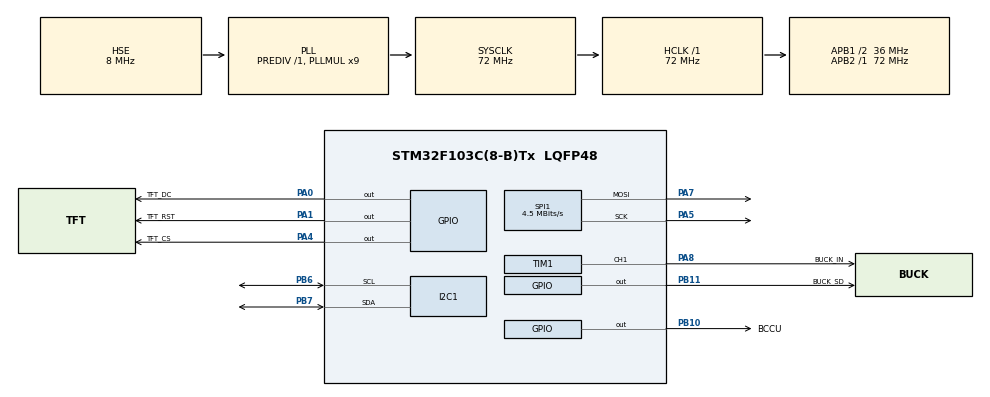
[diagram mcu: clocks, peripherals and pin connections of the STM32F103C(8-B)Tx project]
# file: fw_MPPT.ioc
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Mcu.Family=STM32F1
Mcu.Name=STM32F103C(8-B)Tx
Mcu.Package=LQFP48
NVIC.PriorityGroup=NVIC_PRIORITYGROUP_4
PA0-WKUP.GPIO_Label=TFT_DC
PA0-WKUP.Signal=GPIO_Output
PA1.GPIO_Label=TFT_RST
PA1.Signal=GPIO_Output
PA13.Mode=Serial_Wire
PA13.Signal=SYS_JTMS-SWDIO
PA14.Mode=Serial_Wire
PA14.Signal=SYS_JTCK-SWCLK
PA4.GPIO_Label=TFT_CS
PA4.Signal=GPIO_Output
PA5.Mode=TX_Only_Simplex_Unidirect_Master
PA5.Signal=SPI1_SCK
PA7.Mode=TX_Only_Simplex_Unidirect_Master
PA7.Signal=SPI1_MOSI
PA8.GPIO_Label=BUCK_IN
PA8.Signal=S_TIM1_CH1
PB10.GPIO_Label=BCCU
PB10.Signal=GPIO_Output
PB11.GPIO_Label=BUCK_SD
PB11.Signal=GPIO_Output
PB6.Mode=I2C
PB6.Signal=I2C1_SCL
PB7.Mode=I2C
PB7.Signal=I2C1_SDA
PD0-OSC_IN.Mode=HSE-External-Oscillator
PD0-OSC_IN.Signal=RCC_OSC_IN
PD1-OSC_OUT.Mode=HSE-External-Oscillator
PD1-OSC_OUT.Signal=RCC_OSC_OUT
ProjectManager.HeapSize=0x200
ProjectManager.StackSize=0x400
ProjectManager.TargetToolchain=MDK-ARM V5.32
RCC.AHBFreq_Value=72000000
RCC.APB1CLKDivider=RCC_HCLK_DIV2
RCC.APB1Freq_Value=36000000
RCC.APB1TimFreq_Value=72000000
RCC.APB2Freq_Value=72000000
RCC.APB2TimFreq_Value=72000000
RCC.HCLKFreq_Value=72000000
RCC.PLLMUL=RCC_PLL_MUL9
RCC.PLLSourceVirtual=RCC_PLLSOURCE_HSE
RCC.SYSCLKFreq_VALUE=72000000
RCC.SYSCLKSource=RCC_SYSCLKSOURCE_PLLCLK
RCC.USBFreq_Value=72000000
SH.S_TIM1_CH1.0=TIM1_CH1,PWM Generation1 CH1
SPI1.BaudRatePrescaler=SPI_BAUDRATEPRESCALER_16
SPI1.CalculateBaudRate=4.5 MBits/s
SPI1.Direction=SPI_DIRECTION_2LINES
SPI1.Mode=SPI_MODE_MASTER
SPI1.VirtualType=VM_MASTER
TIM1.Channel-PWM\ Generation1\ CH1=TIM_CHANNEL_1
TIM1.Period=1439
VP_TIM1_VS_ClockSourceINT.Mode=Internal
board=custom

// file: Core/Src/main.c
/* USER CODE BEGIN Header */
/**
  ******************************************************************************
  * @file           : main.c
  * @brief          : Main program body
  ******************************************************************************
  * @attention
  *
  * Copyright (c) 2026 STMicroelectronics.
  * All rights reserved.
  *
  * This software is licensed under terms that can be found in the LICENSE file
  * in the root directory of this software component.
  * If no LICENSE file comes with this software, it is provided AS-IS.
  *
  ******************************************************************************
  */
/* USER CODE END Header */
#include "main.h"

/* USER CODE BEGIN Includes */
#include "st7789.h"
#include "mppt_ui.h"
#include "mppt_measure.h"
#include <stdio.h>
/* USER CODE END Includes */

/* USER CODE BEGIN PD */
/* BENCH ONLY: 12 V input, NO battery or other source at Vout.
 * VCC driver is NOT measured; ADS checks are NOT short-circuit protection.
 * Keep the user's calibrated mppt_measure files unchanged.
 */
#define BUCK_POWER_WAIT_MS       2000U
#define BUCK_VIN_STABLE_MS        500U
#define BUCK_RELAY_WAIT_MS        200U
#define BUCK_RELAY_STABLE_MS      500U
#define BUCK_RELAY_TIMEOUT_MS    2000U
#define BUCK_ADS_TIMEOUT_MS      5000U
#define BUCK_DATA_MAX_AGE_MS      150U
#define BUCK_RAMP_STEP_MS          20U
#define BUCK_VIN_START_MIN_V     11.5f
#define BUCK_VIN_START_MAX_V     12.5f
#define BUCK_VIN_RUN_MIN_V       11.0f
#define BUCK_VIN_RUN_MAX_V       13.0f
#define BUCK_VIN_DRIFT_MAX_V      0.3f
#define BUCK_VOUT_BEFORE_ON_V     0.2f
#define BUCK_VOUT_MAX_V           2.0f
#define BUCK_CURRENT_LIMIT_A     0.3f
/* Fixed zero offsets measured with NO fan/load, SD LOW, on this board at 12 V.
 * Do not learn/adapt these values while the charger is operating.
 * mppt_measure.c still reports current relative to MPPT_CURRENT_ZERO_V;
 * this main applies the matching correction to control AND display.
 */
#define BUCK_ACS_ZERO_OFF_V       2.499f
#define BUCK_ACS_ZERO_ON_V        2.419f
#define BUCK_PWM_HZ             50000U
#define BUCK_INITIAL_CCR           72U /* 5% of 1440 */
#define BUCK_TARGET_CCR           144U /* 10%, NOT MPPT */
#define BUCK_CCR_STEP              14U
#if MPPT_ADS_CURRENT_CH != 2U || MPPT_ADS_VIN_CH != 1U || MPPT_ADS_VOUT_CH != 0U
#error "Check mppt_measure.h: A0=Vout, A1=Vin, A2=ACS712 required."
#endif
/* USER CODE END PD */

I2C_HandleTypeDef hi2c1;

SPI_HandleTypeDef hspi1;

TIM_HandleTypeDef htim1;

/* USER CODE BEGIN PV */
typedef enum {
    BUCK_WAIT_POWER = 0, BUCK_RELAY_SETTLE,
    BUCK_RAMP, BUCK_RUNNING, BUCK_FAULT
} BuckState;
static BuckState buck_state = BUCK_WAIT_POWER;
static const char *buck_message = "WAIT POWER | OFF";
static uint32_t boot_ms, state_ms, stable_ms, ramp_ms, last_ads_errors;
static uint16_t buck_ccr;
static uint8_t vin_stable, ads_seen;
static float vin_reference;
static uint32_t relay_sample_ms, relay_good_ms;
static uint8_t relay_good;
static float relay_vin_reference;
static uint8_t relay_commanded_on;
/* Fault evidence is captured before measurements recover after shutdown. */
static MPPT_Measurement fault_measure;
static uint8_t fault_measure_valid;
static BuckState fault_stage;
static uint16_t fault_ccr;
static uint32_t fault_ms;
static char fault_message[40];
static MPPT_UI_Data screen;
static uint32_t last_screen_ms;
/* Debugger Watch: measure->adc_V[], vin_V, vout_V, ipv_A, error_count. */
const MPPT_Measurement *measure;
/* USER CODE END PV */

void SystemClock_Config(void);
static void MX_GPIO_Init(void);
static void MX_I2C1_Init(void);
static void MX_SPI1_Init(void);
static void MX_TIM1_Init(void);

/* USER CODE BEGIN 0 */
static float Buck_CurrentForRelay(float library_current, uint8_t relay_on)
{
    float zero = relay_on ? BUCK_ACS_ZERO_ON_V : BUCK_ACS_ZERO_OFF_V;
    /* Preserve measured load current; shift the fixed calibration origin only.
     * No clamp of negative values and no automatic zero-current assumption.
     */
    return library_current + MPPT_CURRENT_SIGN *
        (MPPT_CURRENT_ZERO_V - zero) / MPPT_CURRENT_V_PER_A;
}
static float Buck_CurrentA(void)
{
    return Buck_CurrentForRelay(measure->ipv_A, relay_commanded_on);
}
/* SD first, then timer OFF / PA8 GPIO LOW, then relay OFF.
 * Also usable before TIM1 initialization, from Error_Handler.
 */
static void Power_Off(void)
{
    GPIO_InitTypeDef gpio = {0};
    __HAL_RCC_GPIOA_CLK_ENABLE();
    __HAL_RCC_GPIOB_CLK_ENABLE();
    HAL_GPIO_WritePin(BUCK_SD_GPIO_Port,
                     BUCK_SD_Pin, GPIO_PIN_RESET);
    if ((RCC->APB2ENR & RCC_APB2ENR_TIM1EN) != 0U) {
        TIM1->BDTR &= ~TIM_BDTR_MOE;
        TIM1->CCER &= ~TIM_CCER_CC1E;
        TIM1->CR1 &= ~TIM_CR1_CEN;
        TIM1->CCR1 = 0U;
    }
    HAL_GPIO_WritePin(BUCK_IN_GPIO_Port,
                     BUCK_IN_Pin, GPIO_PIN_RESET);
    gpio.Pin = BUCK_IN_Pin;
    gpio.Mode = GPIO_MODE_OUTPUT_PP;
    gpio.Pull = GPIO_NOPULL;
    gpio.Speed = GPIO_SPEED_FREQ_LOW;
    HAL_GPIO_Init(BUCK_IN_GPIO_Port, &gpio);
    HAL_GPIO_WritePin(BCCU_GPIO_Port,
                     BCCU_Pin, GPIO_PIN_RESET);
    relay_commanded_on = 0U;
}
static uint8_t Buck_DataFresh(uint32_t now);
static void Buck_Fault(const char *reason)
{
    uint8_t relay_at_fault = relay_commanded_on;
    /* Shutdown has priority over diagnostic formatting/copies. */
    Power_Off();
    fault_stage = buck_state;
    fault_ccr = buck_ccr;
    fault_ms = HAL_GetTick();
    fault_measure_valid = Buck_DataFresh(fault_ms);
    if (measure != 0) {
        fault_measure = *measure;
        fault_measure.ipv_A = Buck_CurrentForRelay(measure->ipv_A, relay_at_fault);
        fault_measure.ppv_W = fault_measure.vin_V * fault_measure.ipv_A;
    }
    buck_ccr = 0U;
    buck_message = reason;
    buck_state = BUCK_FAULT; /* Latched until MCU reset/power cycle. */
}
static uint8_t Buck_DataFresh(uint32_t now)
{
    return (uint8_t)(measure != 0 && measure->valid &&
        (uint32_t)(now - measure->updated_ms) <= BUCK_DATA_MAX_AGE_MS);
}
static float Buck_RawVin(void)
{
    return measure->adc_V[MPPT_ADS_VIN_CH] * MPPT_VIN_RATIO;
}
static float Buck_RawVout(void)
{
    return measure->adc_V[MPPT_ADS_VOUT_CH] * MPPT_VOUT_RATIO;
}
static uint8_t Buck_CurrentReady(void)
{
    float zero = relay_commanded_on ? BUCK_ACS_ZERO_ON_V : BUCK_ACS_ZERO_OFF_V;
    float raw_current = MPPT_CURRENT_SIGN *
        (measure->adc_V[MPPT_ADS_CURRENT_CH] - zero) /
        MPPT_CURRENT_V_PER_A;
    float current = Buck_CurrentA();
    /* No auto-zero and no larger current limit. Both raw and filtered
     * measurements must qualify before allowing any PWM.
     */
    return (uint8_t)(raw_current >= -BUCK_CURRENT_LIMIT_A &&
        raw_current <= BUCK_CURRENT_LIMIT_A &&
        current >= -BUCK_CURRENT_LIMIT_A &&
        current <= BUCK_CURRENT_LIMIT_A);
}
static uint8_t Buck_VinStartOK(void)
{
    float v = Buck_RawVin();
    return (uint8_t)(v >= BUCK_VIN_START_MIN_V && v <= BUCK_VIN_START_MAX_V &&
        measure->vin_V >= BUCK_VIN_START_MIN_V && measure->vin_V <= BUCK_VIN_START_MAX_V);
}
static uint8_t Buck_CheckLimits(void)
{
    float vin = Buck_RawVin(), vout = Buck_RawVout(), current = Buck_CurrentA();
    /* Positive range checks reject NaN too; V channels are unfiltered. */
    if (!(vin >= BUCK_VIN_RUN_MIN_V && vin <= BUCK_VIN_RUN_MAX_V)) {
        Buck_Fault("FAULT VIN | OFF"); return 0U;
    }
    if (!(vout >= -0.1f && vout <= BUCK_VOUT_MAX_V)) {
        Buck_Fault("FAULT VOUT | OFF"); return 0U;
    }
    /* Filtered PV current: slow supervisory check, NOT a fast current trip. */
    if (!(current >= -BUCK_CURRENT_LIMIT_A && current <= BUCK_CURRENT_LIMIT_A)) {
        Buck_Fault(buck_state == BUCK_RELAY_SETTLE ? "IPV RELAY | OFF" :
                   buck_state == BUCK_RAMP ? "IPV RAMP | OFF" :
                   "IPV RUN | OFF");
        return 0U;
    }
    return 1U;
}
static void Buck_StartPWM(void)
{
    GPIO_InitTypeDef gpio = {0};
    /* Relay settled; SD stays LOW while timer is prepared at zero compare. */
    HAL_GPIO_WritePin(BUCK_SD_GPIO_Port, BUCK_SD_Pin, GPIO_PIN_RESET);
    __HAL_TIM_DISABLE(&htim1);
    __HAL_TIM_MOE_DISABLE(&htim1);
    __HAL_TIM_SET_COMPARE(&htim1, TIM_CHANNEL_1, 0U);
    __HAL_TIM_SET_COUNTER(&htim1, 0U);
    htim1.Instance->EGR = TIM_EGR_UG;
    __HAL_TIM_CLEAR_FLAG(&htim1, TIM_FLAG_UPDATE);
    gpio.Pin = BUCK_IN_Pin;
    gpio.Mode = GPIO_MODE_AF_PP;
    gpio.Pull = GPIO_NOPULL;
    gpio.Speed = GPIO_SPEED_FREQ_HIGH;
    HAL_GPIO_Init(BUCK_IN_GPIO_Port, &gpio);
    if (HAL_TIM_PWM_Start(&htim1, TIM_CHANNEL_1) != HAL_OK) {
        Buck_Fault("FAULT TIMER | OFF"); return;
    }
    /* CCR=0: IN LOW. Enabling SD turns Q3 ON to charge bootstrap.
     * Only for a discharged output with NO battery/external source.
     * No TFT/ADS calls during this bounded 2 ms interval.
     */
    HAL_GPIO_WritePin(BUCK_SD_GPIO_Port, BUCK_SD_Pin, GPIO_PIN_SET);
    HAL_Delay(2U);
    buck_ccr = BUCK_INITIAL_CCR;
    __HAL_TIM_SET_COMPARE(&htim1, TIM_CHANNEL_1, buck_ccr);
    ramp_ms = HAL_GetTick();
    buck_state = BUCK_RAMP;
    buck_message = "RAMP | BUCK ON";
}
static void Buck_Task(void)
{
    uint32_t now = HAL_GetTick();
    float vin, delta;
    uint8_t fresh;
    if (buck_state == BUCK_FAULT) return;
    fresh = Buck_DataFresh(now);
    if (buck_state != BUCK_WAIT_POWER) {
        if (!fresh || measure->error_count != last_ads_errors) {
            Buck_Fault("FAULT ADS | OFF"); return;
        }
        /* Relay settling has its own bounded qualification below.
         * Never enable SD/PWM while waiting for its current reading.
         * Run-time current protection is unchanged.
         */
        if ((buck_state == BUCK_RAMP || buck_state == BUCK_RUNNING) &&
            !Buck_CheckLimits()) return;
    }
    switch (buck_state) {
    case BUCK_WAIT_POWER:
        if (fresh) ads_seen = 1U;
        if (!ads_seen && (uint32_t)(now - boot_ms) >= BUCK_ADS_TIMEOUT_MS) {
            Buck_Fault("FAULT ADS | OFF"); return;
        }
        if (ads_seen && !fresh) { Buck_Fault("FAULT ADS | OFF"); return; }
        if (!fresh) { vin_stable = 0U; break; }
        if (measure->error_count != last_ads_errors) {
            Buck_Fault("FAULT ADS | OFF"); return;
        }
        /* An unloaded output capacitor can retain or acquire a small voltage
         * during reset.  Keep every power command OFF and wait for it to fall
         * below the pre-start threshold.  A voltage above the 2 V bench limit
         * is treated as an external/live output and latches a fault.
         */
        if (!(Buck_RawVout() >= -0.1f && Buck_RawVout() <= BUCK_VOUT_MAX_V)) {
            Buck_Fault("OUTPUT LIVE | OFF"); return;
        }
        if (Buck_RawVout() > BUCK_VOUT_BEFORE_ON_V) {
            vin_stable = 0U;
            buck_message = "WAIT VOUT | OFF";
            break;
        }
        if (!Buck_CurrentReady()) {
            /* Relay is still OFF, so this can be ACS712 startup settling.
             * Stay safely OFF and restart the qualification interval.
             * Once the relay closes, Buck_CheckLimits() still latches a fault.
             */
            vin_stable = 0U;
            buck_message = "WAIT CURRENT | OFF";
            break;
        }
        if (!Buck_VinStartOK()) {
            vin_stable = 0U;
            buck_message = "WAIT VIN | OFF";
            break;
        }
        vin = Buck_RawVin();
        delta = vin - vin_reference;
        if (!vin_stable || delta > BUCK_VIN_DRIFT_MAX_V || delta < -BUCK_VIN_DRIFT_MAX_V) {
            vin_reference = vin;
            stable_ms = now;
            vin_stable = 1U;
        }
        buck_message = "WAIT STABLE | OFF";
        if ((uint32_t)(now - boot_ms) >= BUCK_POWER_WAIT_MS &&
            (uint32_t)(now - stable_ms) >= BUCK_VIN_STABLE_MS) {
            HAL_GPIO_WritePin(BCCU_GPIO_Port, BCCU_Pin, GPIO_PIN_SET);
            relay_commanded_on = 1U;
            state_ms = HAL_GetTick();
            relay_sample_ms = measure->updated_ms;
            relay_good = 0U;
            buck_state = BUCK_RELAY_SETTLE;
            buck_message = "RELAY WAIT | OFF";
        }
        break;
    case BUCK_RELAY_SETTLE:
        /* PA8 stays GPIO LOW, TIM1 stopped and SD LOW throughout this state.
         * The relay edge can capacitively lift the unloaded output for a short
         * time.  OUTPUT LIVE was already checked before the relay was closed,
         * so use the normal 2 V bench limit here instead of the 0.2 V
         * pre-start limit.
         * Current outside the test window blocks startup and may only wait
         * up to BUCK_RELAY_TIMEOUT_MS, never indefinitely with relay ON.
         */
        if (!Buck_VinStartOK()) { Buck_Fault("FAULT VIN | OFF"); return; }
        if (!(Buck_RawVout() >= -0.1f && Buck_RawVout() <= BUCK_VOUT_MAX_V)) {
            Buck_Fault("FAULT VOUT | OFF"); return;
        }
        if ((uint32_t)(now - state_ms) >= BUCK_RELAY_TIMEOUT_MS) {
            Buck_Fault(Buck_CurrentReady() ? "RELAY UNSTABLE | OFF" :
                                           "IPV RELAY | OFF");
            return;
        }
        if ((uint32_t)(now - state_ms) < BUCK_RELAY_WAIT_MS) break;
        /* Only qualify newly published scans, not repeated reads of one scan. */
        if (measure->updated_ms == relay_sample_ms) break;
        relay_sample_ms = measure->updated_ms;
        if (!Buck_CurrentReady()) {
            relay_good = 0U;
            buck_message = "RELAY I WAIT | OFF";
            break;
        }
        vin = Buck_RawVin();
        delta = vin - relay_vin_reference;
        if (!relay_good || delta > BUCK_VIN_DRIFT_MAX_V ||
                           delta < -BUCK_VIN_DRIFT_MAX_V) {
            relay_vin_reference = vin;
            relay_good_ms = now;
            relay_good = 1U;
        }
        buck_message = "RELAY QUALIFY | OFF";
        if ((uint32_t)(now - relay_good_ms) >= BUCK_RELAY_STABLE_MS) {
            Buck_StartPWM();
        }
        break;
    case BUCK_RAMP:
        if ((uint32_t)(now - ramp_ms) >= BUCK_RAMP_STEP_MS) {
            ramp_ms = now;
            buck_ccr = (uint16_t)(buck_ccr + BUCK_CCR_STEP);
            if (buck_ccr >= BUCK_TARGET_CCR) {
                buck_ccr = BUCK_TARGET_CCR;
                buck_state = BUCK_RUNNING;
                buck_message = "TEST 10% | BUCK ON";
            }
            __HAL_TIM_SET_COMPARE(&htim1, TIM_CHANNEL_1, buck_ccr);
        }
        break;
    case BUCK_RUNNING: break;
    default: Buck_Fault("FAULT STATE | OFF"); break;
    }
}
static int32_t milli(float v)
{
    return (int32_t)(v * 1000.0f + (v >= 0.0f ? 0.5f : -0.5f));
}
static void UpdateScreen(void)
{
    const MPPT_Measurement *display_measure = measure;
    uint8_t display_valid = Buck_DataFresh(HAL_GetTick());
    if (buck_state == BUCK_FAULT && fault_measure_valid) {
        display_measure = &fault_measure;
        display_valid = 1U;
    }
    screen.total_energy_Wh = MPPT_UI_U32_NA;
    screen.switching_frequency_Hz =
        (buck_state == BUCK_RAMP || buck_state == BUCK_RUNNING) ? BUCK_PWM_HZ : MPPT_UI_U32_NA;
    screen.battery_current_mA = MPPT_UI_I32_NA;
    screen.battery_power_mW = MPPT_UI_I32_NA;
    screen.ip_address = "--";
    screen.wifi_connected = screen.demo = 0;
    screen.load_on = (uint8_t)(buck_state == BUCK_RAMP || buck_state == BUCK_RUNNING);
    if (display_valid) {
        screen.pv_voltage_mV = (uint32_t)milli(display_measure->vin_V);
        screen.battery_voltage_mV = (uint32_t)milli(display_measure->vout_V);
        screen.pv_current_mA = milli(display_measure == &fault_measure ?
            fault_measure.ipv_A : Buck_CurrentA());

				if ((screen.pv_current_mA > -30) &&
						(screen.pv_current_mA < 30))
				{
						screen.pv_current_mA = 0;
				}

				screen.pv_power_mW =
						(int32_t)(((int64_t)screen.pv_voltage_mV * screen.pv_current_mA) / 1000);
    } else {
        screen.pv_voltage_mV = screen.battery_voltage_mV = MPPT_UI_U32_NA;
        screen.pv_current_mA = screen.pv_power_mW = MPPT_UI_I32_NA;
    }
    screen.date_time = buck_message;
    if (buck_state == BUCK_FAULT && fault_measure_valid) {
        /* Alternate stage label and actual current sample used by the trip.
         * No float printf support needed on Keil. Frozen panels are TRIP data.
         */
        if (((HAL_GetTick() / 2000U) % 3U) == 1U) {
            (void)snprintf(fault_message, sizeof(fault_message),
                "TRIP I:%ldmA | OFF", (long)milli(fault_measure.ipv_A));
            screen.date_time = fault_message;
        } else if (((HAL_GetTick() / 2000U) % 3U) == 2U) {
            (void)snprintf(fault_message, sizeof(fault_message),
                "TRIP A2:%ldmV", (long)milli(fault_measure.adc_V[MPPT_ADS_CURRENT_CH]));
            screen.date_time = fault_message;
        }
    }
    MPPT_UI_SetWarning((uint8_t)(buck_state == BUCK_FAULT));
    MPPT_UI_Draw(&screen);
}

/* Step 1: initialize only the shutdown controls, never enable PWM.
 * Called before HSE startup; repeated writes do not change the pin mode.
 * Kept in USER CODE so CubeMX regeneration preserves this setup. */
static void Power_SafeInit(void)
{
    GPIO_InitTypeDef gpio = {0};
    __HAL_RCC_GPIOA_CLK_ENABLE();
    __HAL_RCC_GPIOB_CLK_ENABLE();
    Power_Off();
    gpio.Mode = GPIO_MODE_OUTPUT_PP;
    gpio.Pull = GPIO_NOPULL;
    gpio.Speed = GPIO_SPEED_FREQ_LOW;
    gpio.Pin = GPIO_PIN_11 | GPIO_PIN_10;
    HAL_GPIO_Init(GPIOB, &gpio);
    gpio.Pin = GPIO_PIN_8;
    HAL_GPIO_Init(GPIOA, &gpio);
}
/* USER CODE END 0 */

int main(void)
{

  /* MCU Configuration--------------------------------------------------------*/

  /* Reset of all peripherals, Initializes the Flash interface and the Systick. */
  HAL_Init();

  /* USER CODE BEGIN Init */
Power_SafeInit();
  /* USER CODE END Init */

  /* Configure the system clock */
  SystemClock_Config();

  /* Initialize all configured peripherals */
  MX_GPIO_Init();
  MX_I2C1_Init();
  MX_SPI1_Init();
  MX_TIM1_Init();
	/* USER CODE BEGIN 2 */
    Power_Off();
    /* Verify the rewired board and timer assumptions before allowing startup. */
    if (BUCK_IN_GPIO_Port != GPIOA || BUCK_IN_Pin != GPIO_PIN_8 ||
        BUCK_SD_GPIO_Port != GPIOB || BUCK_SD_Pin != GPIO_PIN_11 ||
        BCCU_GPIO_Port != GPIOB || BCCU_Pin != GPIO_PIN_10 ||
        HAL_RCC_GetPCLK2Freq() != 72000000U ||
        htim1.Instance->PSC != 0U || htim1.Instance->ARR != 1439U) {
        Error_Handler();
    }
    ST7789_Init();
    MPPT_UI_Init();
    MPPT_Measure_Init(&hi2c1);
    measure = MPPT_Measure_Get();
    last_ads_errors = measure->error_count;
    boot_ms = HAL_GetTick(); /* Full wait starts AFTER display initialization. */
    buck_state = BUCK_WAIT_POWER;
    buck_message = "WAIT POWER | OFF";
    UpdateScreen();
    last_screen_ms = HAL_GetTick();
	/* USER CODE END 2 */

  /* Infinite loop */
  while (1)
  {

    /* USER CODE BEGIN 3 */
    Buck_Task();
    MPPT_Measure_Task();
    Buck_Task();
    if ((uint32_t)(HAL_GetTick() - last_screen_ms) >= 200U) {
        last_screen_ms = HAL_GetTick();
        /* Do not let screen drawing extend the staged startup/ramp. */
        if (buck_state != BUCK_RELAY_SETTLE && buck_state != BUCK_RAMP) {
            UpdateScreen();
        }
    }
    if (buck_state != BUCK_RELAY_SETTLE && buck_state != BUCK_RAMP) {
        MPPT_UI_Tick();
    }
    Buck_Task(); /* Check freshness again after blocking display work. */
  }
  /* USER CODE END 3 */
}

void SystemClock_Config(void)
{
  RCC_OscInitTypeDef RCC_OscInitStruct = {0};
  RCC_ClkInitTypeDef RCC_ClkInitStruct = {0};

  /** Initializes the RCC Oscillators according to the specified parameters
  * in the RCC_OscInitTypeDef structure.
  */
  RCC_OscInitStruct.OscillatorType = RCC_OSCILLATORTYPE_HSE;
  RCC_OscInitStruct.HSEState = RCC_HSE_ON;
  RCC_OscInitStruct.HSEPredivValue = RCC_HSE_PREDIV_DIV1;
  RCC_OscInitStruct.HSIState = RCC_HSI_ON;
  RCC_OscInitStruct.PLL.PLLState = RCC_PLL_ON;
  RCC_OscInitStruct.PLL.PLLSource = RCC_PLLSOURCE_HSE;
  RCC_OscInitStruct.PLL.PLLMUL = RCC_PLL_MUL9;
  if (HAL_RCC_OscConfig(&RCC_OscInitStruct) != HAL_OK)
  {
    Error_Handler();
  }

  /** Initializes the CPU, AHB and APB buses clocks
  */
  RCC_ClkInitStruct.ClockType = RCC_CLOCKTYPE_HCLK|RCC_CLOCKTYPE_SYSCLK
                              |RCC_CLOCKTYPE_PCLK1|RCC_CLOCKTYPE_PCLK2;
  RCC_ClkInitStruct.SYSCLKSource = RCC_SYSCLKSOURCE_PLLCLK;
  RCC_ClkInitStruct.AHBCLKDivider = RCC_SYSCLK_DIV1;
  RCC_ClkInitStruct.APB1CLKDivider = RCC_HCLK_DIV2;
  RCC_ClkInitStruct.APB2CLKDivider = RCC_HCLK_DIV1;

  if (HAL_RCC_ClockConfig(&RCC_ClkInitStruct, FLASH_LATENCY_2) != HAL_OK)
  {
    Error_Handler();
  }
}

static void MX_I2C1_Init(void)
{

  hi2c1.Instance = I2C1;
  hi2c1.Init.ClockSpeed = 100000;
  hi2c1.Init.DutyCycle = I2C_DUTYCYCLE_2;
  hi2c1.Init.OwnAddress1 = 0;
  hi2c1.Init.AddressingMode = I2C_ADDRESSINGMODE_7BIT;
  hi2c1.Init.DualAddressMode = I2C_DUALADDRESS_DISABLE;
  hi2c1.Init.OwnAddress2 = 0;
  hi2c1.Init.GeneralCallMode = I2C_GENERALCALL_DISABLE;
  hi2c1.Init.NoStretchMode = I2C_NOSTRETCH_DISABLE;
  if (HAL_I2C_Init(&hi2c1) != HAL_OK)
  {
    Error_Handler();
  }

}

static void MX_SPI1_Init(void)
{

  /* SPI1 parameter configuration*/
  hspi1.Instance = SPI1;
  hspi1.Init.Mode = SPI_MODE_MASTER;
  hspi1.Init.Direction = SPI_DIRECTION_2LINES;
  hspi1.Init.DataSize = SPI_DATASIZE_8BIT;
  hspi1.Init.CLKPolarity = SPI_POLARITY_LOW;
  hspi1.Init.CLKPhase = SPI_PHASE_1EDGE;
  hspi1.Init.NSS = SPI_NSS_SOFT;
  hspi1.Init.BaudRatePrescaler = SPI_BAUDRATEPRESCALER_16;
  hspi1.Init.FirstBit = SPI_FIRSTBIT_MSB;
  hspi1.Init.TIMode = SPI_TIMODE_DISABLE;
  hspi1.Init.CRCCalculation = SPI_CRCCALCULATION_DISABLE;
  hspi1.Init.CRCPolynomial = 10;
  if (HAL_SPI_Init(&hspi1) != HAL_OK)
  {
    Error_Handler();
  }

}

static void MX_TIM1_Init(void)
{

  TIM_ClockConfigTypeDef sClockSourceConfig = {0};
  TIM_MasterConfigTypeDef sMasterConfig = {0};
  TIM_OC_InitTypeDef sConfigOC = {0};
  TIM_BreakDeadTimeConfigTypeDef sBreakDeadTimeConfig = {0};

  htim1.Instance = TIM1;
  htim1.Init.Prescaler = 0;
  htim1.Init.CounterMode = TIM_COUNTERMODE_UP;
  htim1.Init.Period = 1439;
  htim1.Init.ClockDivision = TIM_CLOCKDIVISION_DIV1;
  htim1.Init.RepetitionCounter = 0;
  htim1.Init.AutoReloadPreload = TIM_AUTORELOAD_PRELOAD_DISABLE;
  if (HAL_TIM_Base_Init(&htim1) != HAL_OK)
  {
    Error_Handler();
  }
  sClockSourceConfig.ClockSource = TIM_CLOCKSOURCE_INTERNAL;
  if (HAL_TIM_ConfigClockSource(&htim1, &sClockSourceConfig) != HAL_OK)
  {
    Error_Handler();
  }
  if (HAL_TIM_PWM_Init(&htim1) != HAL_OK)
  {
    Error_Handler();
  }
  sMasterConfig.MasterOutputTrigger = TIM_TRGO_RESET;
  sMasterConfig.MasterSlaveMode = TIM_MASTERSLAVEMODE_DISABLE;
  if (HAL_TIMEx_MasterConfigSynchronization(&htim1, &sMasterConfig) != HAL_OK)
  {
    Error_Handler();
  }
  sConfigOC.OCMode = TIM_OCMODE_PWM1;
  sConfigOC.Pulse = 0;
  sConfigOC.OCPolarity = TIM_OCPOLARITY_HIGH;
  sConfigOC.OCNPolarity = TIM_OCNPOLARITY_HIGH;
  sConfigOC.OCFastMode = TIM_OCFAST_DISABLE;
  sConfigOC.OCIdleState = TIM_OCIDLESTATE_RESET;
  sConfigOC.OCNIdleState = TIM_OCNIDLESTATE_RESET;
  if (HAL_TIM_PWM_ConfigChannel(&htim1, &sConfigOC, TIM_CHANNEL_1) != HAL_OK)
  {
    Error_Handler();
  }
  sBreakDeadTimeConfig.OffStateRunMode = TIM_OSSR_DISABLE;
  sBreakDeadTimeConfig.OffStateIDLEMode = TIM_OSSI_DISABLE;
  sBreakDeadTimeConfig.LockLevel = TIM_LOCKLEVEL_OFF;
  sBreakDeadTimeConfig.DeadTime = 0;
  sBreakDeadTimeConfig.BreakState = TIM_BREAK_DISABLE;
  sBreakDeadTimeConfig.BreakPolarity = TIM_BREAKPOLARITY_HIGH;
  sBreakDeadTimeConfig.AutomaticOutput = TIM_AUTOMATICOUTPUT_DISABLE;
  if (HAL_TIMEx_ConfigBreakDeadTime(&htim1, &sBreakDeadTimeConfig) != HAL_OK)
  {
    Error_Handler();
  }
  HAL_TIM_MspPostInit(&htim1);

}

static void MX_GPIO_Init(void)
{
  GPIO_InitTypeDef GPIO_InitStruct = {0};

  /* GPIO Ports Clock Enable */
  __HAL_RCC_GPIOD_CLK_ENABLE();
  __HAL_RCC_GPIOA_CLK_ENABLE();
  __HAL_RCC_GPIOB_CLK_ENABLE();

  /*Configure GPIO pin Output Level */
  HAL_GPIO_WritePin(GPIOA, TFT_DC_Pin|TFT_RST_Pin|TFT_CS_Pin, GPIO_PIN_RESET);

  /*Configure GPIO pin Output Level */
  HAL_GPIO_WritePin(GPIOB, BCCU_Pin|BUCK_SD_Pin, GPIO_PIN_RESET);

  /*Configure GPIO pins : TFT_DC_Pin TFT_RST_Pin TFT_CS_Pin */
  GPIO_InitStruct.Pin = TFT_DC_Pin|TFT_RST_Pin|TFT_CS_Pin;
  GPIO_InitStruct.Mode = GPIO_MODE_OUTPUT_PP;
  GPIO_InitStruct.Pull = GPIO_NOPULL;
  GPIO_InitStruct.Speed = GPIO_SPEED_FREQ_LOW;
  HAL_GPIO_Init(GPIOA, &GPIO_InitStruct);

  /*Configure GPIO pins : BCCU_Pin BUCK_SD_Pin */
  GPIO_InitStruct.Pin = BCCU_Pin|BUCK_SD_Pin;
  GPIO_InitStruct.Mode = GPIO_MODE_OUTPUT_PP;
  GPIO_InitStruct.Pull = GPIO_NOPULL;
  GPIO_InitStruct.Speed = GPIO_SPEED_FREQ_LOW;
  HAL_GPIO_Init(GPIOB, &GPIO_InitStruct);

}

void Error_Handler(void)
{
  /* USER CODE BEGIN Error_Handler_Debug */
Power_Off();
  __disable_irq();
  while (1) {
  }
  /* USER CODE END Error_Handler_Debug */
}
